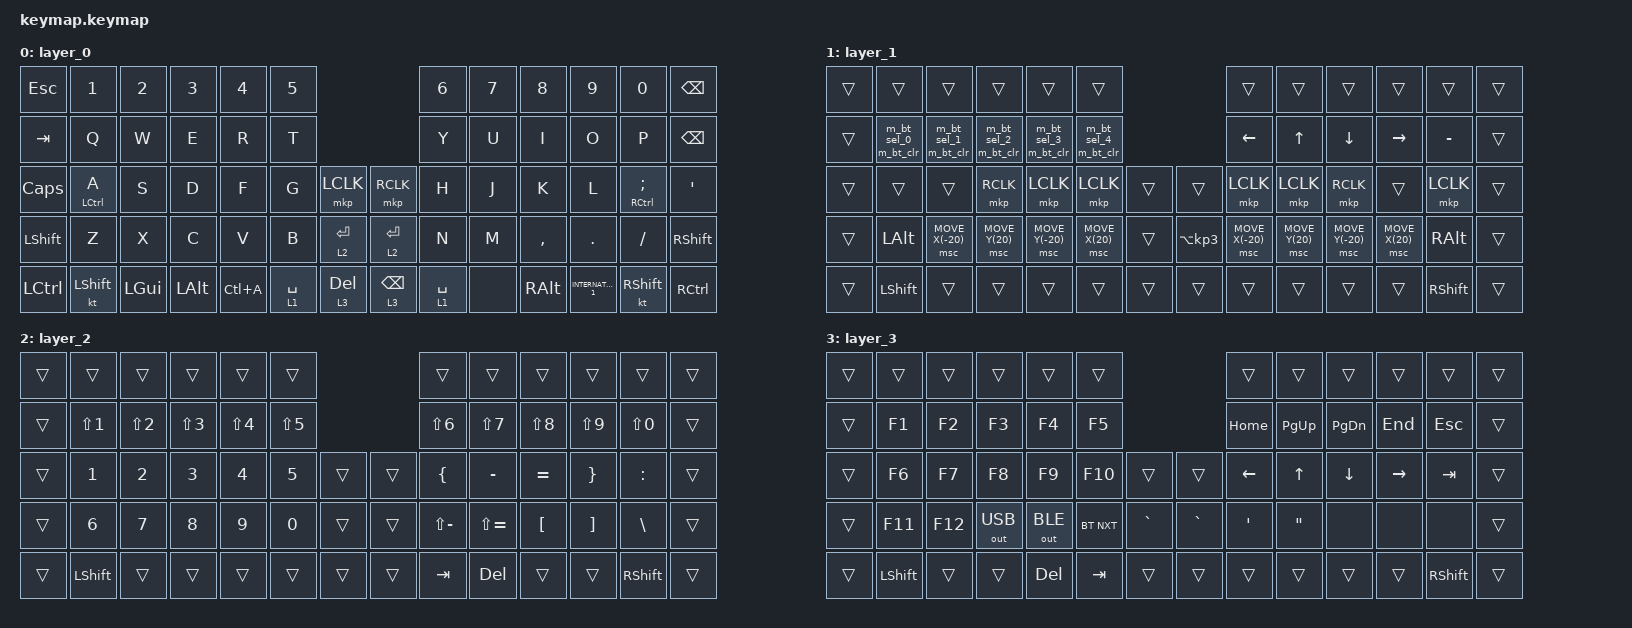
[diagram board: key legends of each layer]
#include <behaviors.dtsi>
#include <dt-bindings/zmk/bt.h>
#include <dt-bindings/zmk/keys.h>
#include <dt-bindings/zmk/outputs.h>
#include <dt-bindings/zmk/pointing.h>


/ {
    combos {
        compatible = "zmk,combos";

        bt_clear {
            bindings = <&bt BT_CLR>;
            key-positions = <28 29>;
            layers = <2>;
        };
    };

    macros {
        m_bt_clr: m_bt_clr {
            compatible = "zmk,behavior-macro";
            #binding-cells = <0>;
            bindings = <&bt BT_CLR>;
        };

        // Bluetooth 0番 
        m_bt_sel_0: m_bt_sel_0 {
            compatible = "zmk,behavior-macro";
            #binding-cells = <0>;
            bindings = <&bt BT_SEL 0>;
        };

        // Bluetooth 1番
        m_bt_sel_1: m_bt_sel_1 {
            compatible = "zmk,behavior-macro";
            #binding-cells = <0>;
            bindings = <&bt BT_SEL 1>;
        };

        // Bluetooth 2番
        m_bt_sel_2: m_bt_sel_2 {
            compatible = "zmk,behavior-macro";
            #binding-cells = <0>;
            bindings = <&bt BT_SEL 2>;
        };

        // Bluetooth 3番
        m_bt_sel_3: m_bt_sel_3 {
            compatible = "zmk,behavior-macro";
            #binding-cells = <0>;
            bindings = <&bt BT_SEL 3>;
        };

        // Bluetooth 4番
        m_bt_sel_4: m_bt_sel_4 {
            compatible = "zmk,behavior-macro";
            #binding-cells = <0>;
            bindings = <&bt BT_SEL 4>;
        };
    };

    behaviors {
        my_ht: my_hold_tap {
            compatible = "zmk,behavior-hold-tap";
            label = "my_hold_tap";
            #binding-cells = <2>;
            tapping-term-ms = <400>;
            quick-tap-ms = <200>;
            flavor = "tap-preferred";
            bindings = <&kp>, <&kp>;
        };

        my_lt: my_layer_tap {
            compatible = "zmk,behavior-hold-tap";
            label = "my_layer_tap";
            #binding-cells = <2>;
            tapping-term-ms = <400>;             /* ここで時間を自由に調整（例：200ms） */
            quick-tap-ms = <200>;
            flavor = "tap-preferred";
            bindings = <&mo>, <&kp>;

            /* 1つ目の引数にレイヤー(&mo)、2つ目にキー入力(&kp)を指定 */
        };

        my_bt_tap_0: my_bt_tap_0 {
            compatible = "zmk,behavior-hold-tap";
            label = "my_bluetooth_tap_0";
            #binding-cells = <2>;
            flavor = "tap-preferred";
            tapping-term-ms = <2000>;
            bindings = <&m_bt_clr>, <&m_bt_sel_0>;
        };

        my_bt_tap_1: my_bt_tap_1 {
            compatible = "zmk,behavior-hold-tap";
            label = "my_bluetooth_tap_1";
            #binding-cells = <2>;
            flavor = "tap-preferred";
            tapping-term-ms = <2000>;
            bindings = <&m_bt_clr>, <&m_bt_sel_1>;
        };

        my_bt_tap_2: my_bt_tap_2 {
            compatible = "zmk,behavior-hold-tap";
            label = "my_bluetooth_tap_2";
            #binding-cells = <2>;
            flavor = "tap-preferred";
            tapping-term-ms = <2000>;
            bindings = <&m_bt_clr>, <&m_bt_sel_2>;
        };

        my_bt_tap_3: my_bt_tap_3 {
            compatible = "zmk,behavior-hold-tap";
            label = "my_bluetooth_tap_3";
            #binding-cells = <2>;
            flavor = "tap-preferred";
            tapping-term-ms = <2000>;
            bindings = <&m_bt_clr>, <&m_bt_sel_3>;
        };

        my_bt_tap_4: my_bt_tap_4 {
            compatible = "zmk,behavior-hold-tap";
            label = "my_bluetooth_tap_4";
            #binding-cells = <2>;
            flavor = "tap-preferred";
            tapping-term-ms = <2000>;
            bindings = <&m_bt_clr>, <&m_bt_sel_4>;
        };
    };
    keymap {
        compatible = "zmk,keymap";

        layer_0 {
            bindings = <
&kp ESC    &kp N1                 &kp N2    &kp N3    &kp N4     &kp N5                                      &kp N6       &kp N7  &kp N8     &kp N9               &kp N0                     &kp BSPC
&kp TAB    &kp Q                  &kp W     &kp E     &kp R      &kp T                                       &kp Y        &kp U   &kp I      &kp O                &kp P                      &kp BSPC
&kp CAPS   &my_ht LEFT_CONTROL A  &kp S     &kp D     &kp F      &kp G        &mkp LCLK     &mkp RCLK        &kp H        &kp J   &kp K      &kp L                &my_ht RIGHT_CONTROL SEMI  &kp SQT
&kp LSHFT  &kp Z                  &kp X     &kp C     &kp V      &kp B        &lt 2 RET     &lt 2 RET        &kp N        &kp M   &kp COMMA  &kp DOT              &kp SLASH                  &kp RSHFT
&kp LCTRL  &kt LEFT_SHIFT         &kp LGUI  &kp LALT  &kp LC(A)  &lt 1 SPACE  &lt 3 DELETE  &lt 3 BACKSPACE  &lt 1 SPACE  &none   &kp RALT   &kp INTERNATIONAL_1  &kt RIGHT_SHIFT            &kp RCTRL
            >;
        };

        layer_1 {
            bindings = <
&trans  &trans            &trans            &trans            &trans            &trans                                         &trans            &trans           &trans            &trans           &trans           &trans
&trans  &my_bt_tap_0 0 0  &my_bt_tap_1 0 0  &my_bt_tap_2 0 0  &my_bt_tap_3 0 0  &my_bt_tap_4 0 0                               &kp LEFT_ARROW    &kp UP_ARROW     &kp DOWN_ARROW    &kp RIGHT_ARROW  &kp MINUS        &trans
&trans  &trans            &trans            &mkp RCLK         &mkp LCLK         &mkp LCLK         &trans  &trans               &mkp LCLK         &mkp LCLK        &mkp RCLK         &trans           &mkp LCLK        &trans
&trans  &kp LEFT_ALT      &msc MOVE_X(-20)  &msc MOVE_Y(20)   &msc MOVE_Y(-20)  &msc MOVE_X(20)   &trans  &kp LA(KP_NUMBER_3)  &msc MOVE_X(-20)  &msc MOVE_Y(20)  &msc MOVE_Y(-20)  &msc MOVE_X(20)  &kp RIGHT_ALT    &trans
&trans  &kp LEFT_SHIFT    &trans            &trans            &trans            &trans            &trans  &trans               &trans            &trans           &trans            &trans           &kp RIGHT_SHIFT  &trans
            >;
        };

        layer_2 {
            bindings = <
&trans  &trans            &trans            &trans      &trans      &trans                      &trans          &trans         &trans            &trans             &trans           &trans
&trans  &kp LS(NUMBER_1)  &kp LS(NUMBER_2)  &kp LS(N3)  &kp LS(N4)  &kp LS(N5)                  &kp LS(N6)      &kp LS(N7)     &kp LS(N8)        &kp LS(N9)         &kp LS(N0)       &trans
&trans  &kp N1            &kp N2            &kp N3      &kp N4      &kp N5      &trans  &trans  &kp LEFT_BRACE  &kp MINUS      &kp EQUAL         &kp RIGHT_BRACE    &kp COLON        &trans
&trans  &kp N6            &kp N7            &kp N8      &kp N9      &kp N0      &trans  &trans  &kp LS(MINUS)   &kp LS(EQUAL)  &kp LEFT_BRACKET  &kp RIGHT_BRACKET  &kp BACKSLASH    &trans
&trans  &kp LEFT_SHIFT    &trans            &trans      &trans      &trans      &trans  &trans  &kp TAB         &kp DEL        &trans            &trans             &kp RIGHT_SHIFT  &trans
            >;
        };

        layer_3 {
            bindings = <
&trans  &trans          &trans   &trans        &trans        &trans                            &trans            &trans        &trans          &trans     &trans           &trans
&trans  &kp F1          &kp F2   &kp F3        &kp F4        &kp F5                            &kp HOME          &kp PG_UP     &kp PAGE_DOWN   &kp END    &kp ESCAPE       &trans
&trans  &kp F6          &kp F7   &kp F8        &kp F9        &kp F10     &trans     &trans     &kp LEFT          &kp UP_ARROW  &kp DOWN_ARROW  &kp RIGHT  &kp TAB          &trans
&trans  &kp F11         &kp F12  &out OUT_USB  &out OUT_BLE  &bt BT_NXT  &kp GRAVE  &kp GRAVE  &kp SINGLE_QUOTE  &kp DQT       &none           &none      &none            &trans
&trans  &kp LEFT_SHIFT  &trans   &trans        &kp DELETE    &kp TAB     &trans     &trans     &trans            &trans        &trans          &trans     &kp RIGHT_SHIFT  &trans
            >;
        };
    };
};
